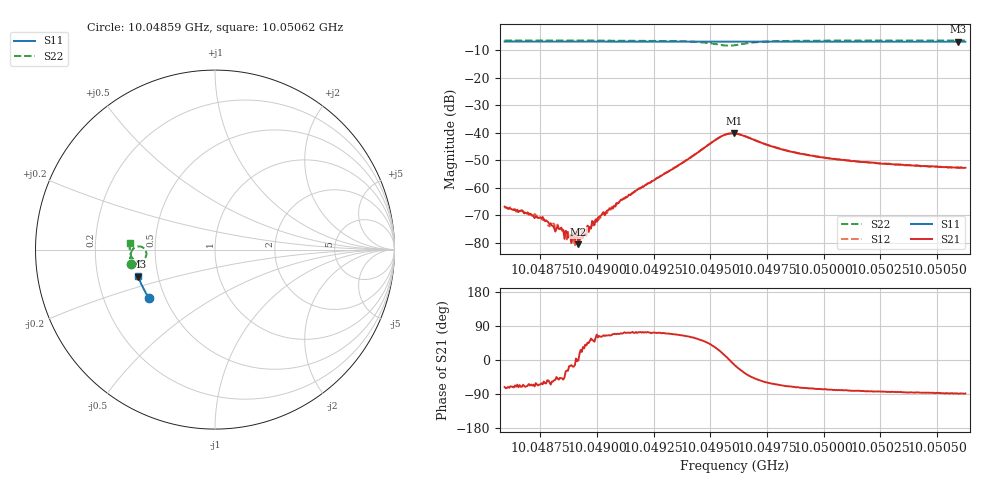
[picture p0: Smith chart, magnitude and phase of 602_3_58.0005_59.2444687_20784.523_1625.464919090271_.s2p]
#  HZ  S  RI  R  50.00
! Rohde & Schwarz Vector Network Analyzer
! Rohde-Schwarz,ZNB20-2Port,1311601062101988,3.16
! Created: UTC 3/21/2024, 1:17:17 AM
! freq[Hz]  re:S11  im:S11  re:S21  im:S21  re:S12  im:S12  re:S22  im:S22
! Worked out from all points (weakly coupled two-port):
!   401 points, 10.04859 GHz to 10.05062 GHz, reference 50 ohm
!   highest |S21| = -40.22 dB at 10.0496 GHz (marker M1); lowest = -80.5 dB at 10.04892 GHz (marker M2)
!   lowest |S11| = -6.9 dB at 10.05059 GHz (marker M3), VSWR 2.65, Z = 19.3 - j7.29 ohm
!   |S11| at or under -10 dB: nowhere
!   |S22| runs from -8.3 to -6.4 dB; largest |S21 - S12| = 0.00071
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1.0048593e10  -0.3693 -0.2672  0.000147 -0.000433  0.000181 -0.000399  -0.4701 -0.079
1.0048735e10  -0.3744 -0.2594  0.000127 -0.000265  0.000146 -0.000275  -0.4713 -0.0685
1.0048771e10  -0.3758 -0.2575  0.000122 -0.00022  0.00012 -0.000224  -0.4716 -0.0656
1.0048811e10  -0.3772 -0.2553  0.000112 -0.000151  0.000133 -0.000178  -0.4718 -0.0624
1.0048837e10  -0.378 -0.2539  0.000121 -0.00013  0.000147 -0.000127  -0.472 -0.0604
1.0048867e10  -0.3791 -0.2521  0.000141 -7.55e-05  0.000106 -4.63e-05  -0.4721 -0.0579
1.0048893e10  -0.38 -0.2506  0.000139 -4.32e-05  0.000135 1.35e-05  -0.4722 -0.0558
1.0048903e10  -0.3804 -0.25  0.000114 -2.71e-05  8.4e-05 -2.42e-05  -0.4722 -0.055
1.0048918e10  -0.3807 -0.2492  9.47e-05 -1.92e-06  0.000124 4.58e-05  -0.4723 -0.0537
1.0048933e10  -0.3815 -0.2484  0.000122 4.77e-05  0.000154 8.26e-05  -0.4722 -0.0525
1.0048943e10  -0.3817 -0.2479  0.000124 7.35e-05  0.000134 9.44e-05  -0.4723 -0.0516
1.004902e10  -0.3842 -0.2437  0.000151 0.000279  0.000101 0.000295  -0.4723 -0.0449
1.0049111e10  -0.3874 -0.2382  0.000213 0.000569  0.000186 0.00058  -0.4719 -0.036
1.0049274e10  -0.3927 -0.229  0.000491 0.00148  0.000395 0.00152  -0.4683 -0.017
1.0049543e10  -0.4001 -0.213  0.0077 0.00336  0.00747 0.00384  -0.3969 0.00814
1.0049604e10  -0.4014 -0.2098  0.00956 -0.00192  0.00971 -0.00123  -0.3855 -0.0409
1.0049609e10  -0.4017 -0.2096  0.0094 -0.00236  0.00961 -0.00172  -0.3877 -0.0448
1.0049797e10  -0.4077 -0.1989  0.00223 -0.00475  0.00255 -0.00469  -0.4612 -0.0463
1.0049949e10  -0.4119 -0.1897  0.001 -0.0037  0.0012 -0.00366  -0.4715 -0.0241
1.005029e10  -0.4203 -0.1689  0.000273 -0.0027  0.000421 -0.00272  -0.4755 0.009
1.0050594e10  -0.4268 -0.15  3.09e-05 -0.00234  0.000188 -0.00232  -0.4748 0.0325
1.0050625e10  -0.4274 -0.1482  6.82e-05 -0.00232  0.000186 -0.00231  -0.4747 0.0348
